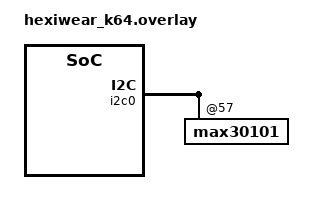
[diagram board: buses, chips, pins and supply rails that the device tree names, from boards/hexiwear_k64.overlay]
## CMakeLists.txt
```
# SPDX-License-Identifier: Apache-2.0

cmake_minimum_required(VERSION 3.13.1)
find_package(Zephyr REQUIRED HINTS $ENV{ZEPHYR_BASE})
project(max30101)

FILE(GLOB app_sources src/*.c)
target_sources(app PRIVATE ${app_sources})
```

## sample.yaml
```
sample:
  description: TBD
  name: TBD
tests:
  sample.sensor.max30101:
    harness: sensor
    tags: sensors
    platform_allow: hexiwear_k64
    depends_on: i2c
    integration_platforms:
      - hexiwear_k64
```

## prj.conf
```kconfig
CONFIG_STDOUT_CONSOLE=y
CONFIG_LOG=y
CONFIG_I2C=y
CONFIG_SENSOR=y
CONFIG_SENSOR_LOG_LEVEL_DBG=y
CONFIG_MAX30101=y
```

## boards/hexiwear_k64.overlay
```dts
/*
 * Copyright (c) 2019, Linaro Ltd.
 *
 * SPDX-License-Identifier: Apache-2.0
 */

&i2c0 {
	max30101@57 {
		status = "okay";
	};
};

&gpioa {
	status = "okay";
};
```

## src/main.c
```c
/*
 * Copyright (c) 2017, NXP
 *
 * SPDX-License-Identifier: Apache-2.0
 */

#include <zephyr.h>
#include <drivers/sensor.h>
#include <stdio.h>

void main(void)
{
	struct sensor_value green;
	const struct device *dev = DEVICE_DT_GET_ANY(max_max30101);

	if (dev == NULL) {
		printf("Could not get max30101 device\n");
		return;
	}
	if (!device_is_ready(dev)) {
		printf("max30101 device %s is not ready\n", dev->name);
		return;
	}

	while (1) {
		sensor_sample_fetch(dev);
		sensor_channel_get(dev, SENSOR_CHAN_GREEN, &green);

		/* Print green LED data*/
		printf("GREEN=%d\n", green.val1);

		k_sleep(K_MSEC(20));
	}
}
```
